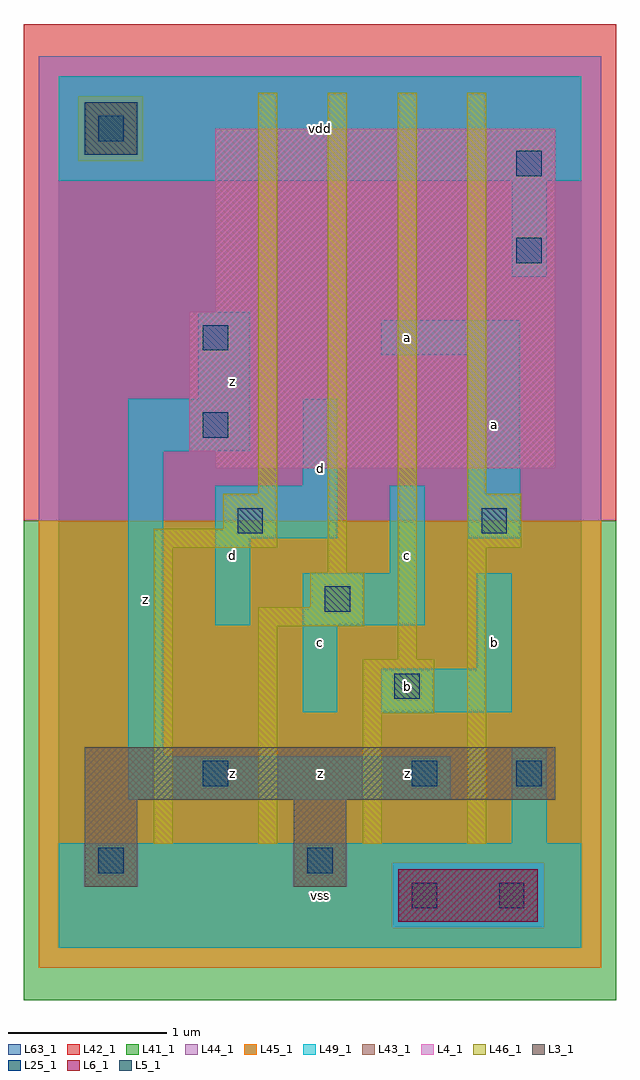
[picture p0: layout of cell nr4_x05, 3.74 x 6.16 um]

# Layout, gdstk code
import gdstk
lib = gdstk.Library(unit=1e-6, precision=1e-09)
def R(c, l, rs):  # rectangles x0, y0, x1, y1
    for r in rs: c.add(gdstk.rectangle(r[:2], r[2:], *l))
L3_1 = (3, 1)
L4_1 = (4, 1)
L5_1 = (5, 1)
L6_1 = (6, 1)
L25_1 = (25, 1)
L41_1 = (41, 1)
L42_1 = (42, 1)
L43_1 = (43, 1)
L44_1 = (44, 1)
L45_1 = (45, 1)
L46_1 = (46, 1)
L49_1 = (49, 1)
L63_1 = (63, 1)

nr4_x05 = lib.new_cell('nr4_x05')
R(nr4_x05, L3_1, [(0.165,0.385,0.495,0.935), (1.485,0.385,1.815,0.935), (0.165,0.935,3.135,1.265)])
R(nr4_x05, L4_1, [(0.99,3.025,3.135,3.135), (0.825,3.135,3.135,4.015), (0.99,4.015,3.135,5.17)])
R(nr4_x05, L5_1, [(0.165,5.005,0.495,5.335)])
R(nr4_x05, L6_1, [(2.145,0.165,3.025,0.495)])
R(nr4_x05, L25_1, [(2.23,0.25,2.39,0.41), (2.78,0.25,2.94,0.41), (0.25,0.47,0.41,0.63), (1.57,0.47,1.73,0.63), (0.91,1.02,1.07,1.18), (2.23,1.02,2.39,1.18), (2.89,1.02,3.05,1.18), (2.12,1.57,2.28,1.73), (1.68,2.12,1.84,2.28), (1.13,2.615,1.29,2.775), (2.67,2.615,2.83,2.775), (0.91,3.22,1.07,3.38), (0.91,3.77,1.07,3.93), (2.89,4.32,3.05,4.48), (2.89,4.87,3.05,5.03), (0.25,5.09,0.41,5.25)])
R(nr4_x05, L41_1, [(-0.22,-0.33,3.52,2.695)])
R(nr4_x05, L42_1, [(-0.22,2.695,3.52,5.83)])
R(nr4_x05, L43_1, [(2.145,0.165,3.025,0.495), (0.165,0.385,0.495,0.935), (1.485,0.385,1.815,0.935), (0.165,0.935,3.135,1.265), (0.99,3.025,3.135,3.135), (0.825,3.135,3.135,4.015), (0.99,4.015,3.135,5.17), (0.165,5.005,0.495,5.335)])
R(nr4_x05, L44_1, [(2.105,0.125,3.065,0.535), (-0.125,2.695,3.425,4.965), (-0.125,4.965,0.125,5.375), (0.535,4.965,3.425,5.375), (-0.125,5.375,3.425,5.625)])
R(nr4_x05, L45_1, [(-0.125,-0.125,3.425,0.125), (-0.125,0.125,2.105,0.535), (3.065,0.125,3.425,0.535), (-0.125,0.535,3.425,2.695), (0.125,4.965,0.535,5.375)])
R(nr4_x05, L46_1, [(0.6,0.655,0.72,2.525), (1.26,0.655,1.38,2.03), (1.92,0.655,2.04,1.48), (2.58,0.655,2.7,2.525), (1.92,1.48,2.37,1.82), (2.14,1.82,2.26,5.395), (1.26,2.03,1.93,2.15), (1.59,2.15,1.93,2.37), (1.7,2.37,1.82,5.395), (0.6,2.525,1.38,2.645), (2.58,2.525,2.92,2.865), (1.04,2.645,1.38,2.865), (1.26,2.865,1.38,5.395), (2.58,2.865,2.7,5.395)])
R(nr4_x05, L49_1, [(0,0,3.3,0.66), (2.86,0.66,3.08,1.265), (0.44,0.935,2.475,1.21), (0.44,1.21,0.66,3.135), (1.54,1.485,1.76,2.035), (2.035,1.485,2.86,1.76), (2.64,1.76,2.86,2.365), (0.99,2.035,1.21,2.585), (1.54,2.035,2.31,2.365), (2.09,2.365,2.31,2.915), (0.99,2.585,1.76,2.915), (2.585,2.585,2.915,3.74), (1.54,2.915,1.76,3.465), (0.44,3.135,1.21,3.465), (0.88,3.465,1.21,4.015), (2.035,3.74,2.915,3.96), (2.86,4.235,3.08,4.84), (0,4.84,3.3,5.5)])
R(nr4_x05, L63_1, [(0,0,3.3,5.5)])
nr4_x05.add(gdstk.Label('z', (1.1,1.1), layer=49, texttype=1))
nr4_x05.add(gdstk.Label('z', (1.1,1.1), layer=49, texttype=1))
nr4_x05.add(gdstk.Label('z', (0.55,2.2), layer=49, texttype=1))
nr4_x05.add(gdstk.Label('z', (0.55,2.2), layer=49, texttype=1))
nr4_x05.add(gdstk.Label('d', (1.1,2.475), layer=49, texttype=1))
nr4_x05.add(gdstk.Label('d', (1.1,2.475), layer=49, texttype=1))
nr4_x05.add(gdstk.Label('z', (1.1,3.575), layer=49, texttype=1))
nr4_x05.add(gdstk.Label('z', (1.1,3.575), layer=49, texttype=1))
nr4_x05.add(gdstk.Label('vss', (1.65,0.33), layer=49, texttype=1))
nr4_x05.add(gdstk.Label('vss', (1.65,0.33), layer=49, texttype=1))
nr4_x05.add(gdstk.Label('z', (1.65,1.1), layer=49, texttype=1))
nr4_x05.add(gdstk.Label('z', (1.65,1.1), layer=49, texttype=1))
nr4_x05.add(gdstk.Label('c', (1.65,1.925), layer=49, texttype=1))
nr4_x05.add(gdstk.Label('c', (1.65,1.925), layer=49, texttype=1))
nr4_x05.add(gdstk.Label('d', (1.65,3.025), layer=49, texttype=1))
nr4_x05.add(gdstk.Label('d', (1.65,3.025), layer=49, texttype=1))
nr4_x05.add(gdstk.Label('vdd', (1.65,5.17), layer=49, texttype=1))
nr4_x05.add(gdstk.Label('vdd', (1.65,5.17), layer=49, texttype=1))
nr4_x05.add(gdstk.Label('z', (2.2,1.1), layer=49, texttype=1))
nr4_x05.add(gdstk.Label('z', (2.2,1.1), layer=49, texttype=1))
nr4_x05.add(gdstk.Label('b', (2.2,1.65), layer=49, texttype=1))
nr4_x05.add(gdstk.Label('b', (2.2,1.65), layer=49, texttype=1))
nr4_x05.add(gdstk.Label('c', (2.2,2.475), layer=49, texttype=1))
nr4_x05.add(gdstk.Label('c', (2.2,2.475), layer=49, texttype=1))
nr4_x05.add(gdstk.Label('a', (2.2,3.85), layer=49, texttype=1))
nr4_x05.add(gdstk.Label('a', (2.2,3.85), layer=49, texttype=1))
nr4_x05.add(gdstk.Label('b', (2.75,1.925), layer=49, texttype=1))
nr4_x05.add(gdstk.Label('b', (2.75,1.925), layer=49, texttype=1))
nr4_x05.add(gdstk.Label('a', (2.75,3.3), layer=49, texttype=1))
nr4_x05.add(gdstk.Label('a', (2.75,3.3), layer=49, texttype=1))

lib.write_gds('nr4_x05.gds')
